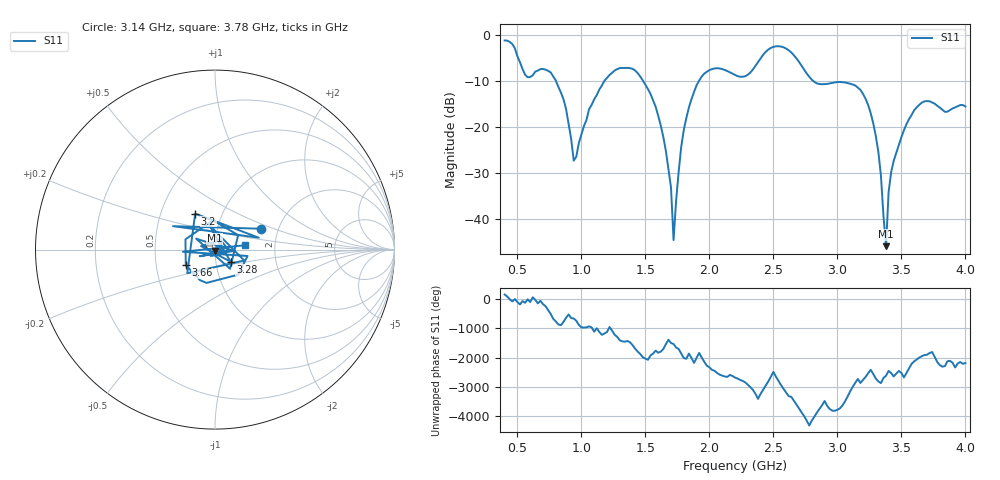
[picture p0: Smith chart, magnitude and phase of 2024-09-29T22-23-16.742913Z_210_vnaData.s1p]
!Created with skrf (http://scikit-rf.org).
# Hz S RI R 50.0
!freq ReS11 ImS11
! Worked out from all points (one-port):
!   181 points, 400 MHz to 4 GHz, reference 50 ohm
!   lowest |S11| = -45.9 dB at 3.38 GHz (marker M1), VSWR 1.01, Z = 49.9 - j0.503 ohm
!   |S11| at or under -10 dB: 801.4 MHz to 1.179 GHz (377.7 MHz wide, 38.1 % of centre); 1.482 GHz to 1.918 GHz (436.1 MHz wide, 25.6 % of centre); 2.812 GHz to end of sweep
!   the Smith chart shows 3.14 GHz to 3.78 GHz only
!   S11 on the Smith chart (normalised r, x): 3.14 GHz: 1.63, +0.41; 3.2 GHz: 0.74, +0.31; 3.28 GHz: 1.18, -0.16; 3.66 GHz: 0.71, -0.13; 3.78 GHz: 1.40, +0.07
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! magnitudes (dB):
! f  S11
! 400 MHz  -1.2
! 860 MHz  -14.0
! 940 MHz  -27.3
! 1.06 GHz  -16.1
! 1.3 GHz  -7.2
! 1.44 GHz  -8.3
! 1.58 GHz  -15.6
! 1.7 GHz  -33.1
! 1.72 GHz  -44.6
! 1.76 GHz  -29.7
! 1.82 GHz  -18.0
! 1.92 GHz  -9.9
! 2.2 GHz  -8.7
! 2.5 GHz  -2.6
! 2.66 GHz  -4.4
! 2.84 GHz  -10.5
! 3.1 GHz  -10.6
! 3.14 GHz  -11.0
! 3.2 GHz  -12.8
! 3.28 GHz  -19.2
! 3.34 GHz  -30.5
! 3.38 GHz  -45.9
! 3.4 GHz  -34.2
! 3.42 GHz  -29.8
! 3.56 GHz  -18.3
! 3.66 GHz  -14.7
! 3.78 GHz  -15.4
! 4 GHz  -15.5
